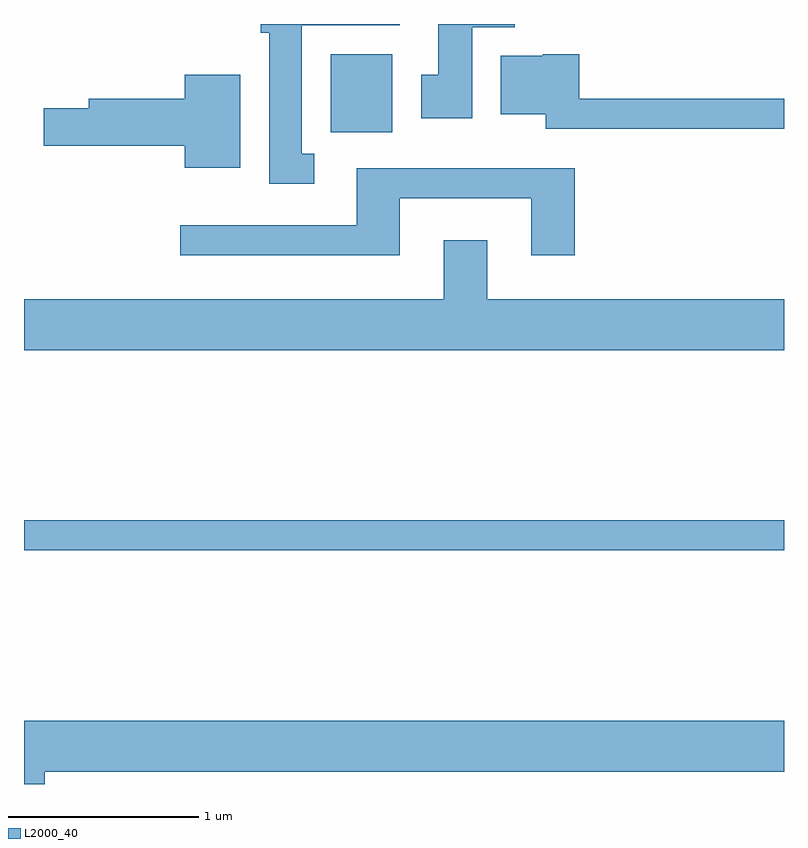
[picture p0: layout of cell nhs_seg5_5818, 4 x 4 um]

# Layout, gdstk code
import gdstk
lib = gdstk.Library(unit=1e-6, precision=1e-09)
def R(c, l, rs):  # rectangles x0, y0, x1, y1
    for r in rs: c.add(gdstk.rectangle(r[:2], r[2:], *l))
def P(c, l, *ps):  # polygons
    for p in ps: c.add(gdstk.Polygon(p, *l))
L2000_40 = (2000, 40)

nhs_seg5_5818 = lib.new_cell('nhs_seg5_5818')
R(nhs_seg5_5818, L2000_40, [(357.611,1451.301,361.611,1451.459), (359.226,1453.501,359.549,1453.914)])
P(nhs_seg5_5818, L2000_40, [(359.969,1454.056),(360.194,1454.056),(360.194,1454.072),(359.791,1454.072),(359.791,1453.804),(359.701,1453.804),(359.701,1453.576),(359.969,1453.576)],
  [(359.138,1453.389),(359.074,1453.389),(359.074,1454.066),(359.589,1454.066),(359.589,1454.072),(358.856,1454.072),(358.856,1454.026),(358.901,1454.026),(358.901,1453.231),(359.138,1453.231)],
  [(361.611,1453.679),(360.534,1453.679),(360.534,1453.914),(360.34,1453.914),(360.34,1453.904),(360.121,1453.904),(360.121,1453.596),(360.356,1453.596),(360.356,1453.521),(361.611,1453.521)],
  [(358.749,1453.804),(358.456,1453.804),(358.456,1453.679),(357.951,1453.679),(357.951,1453.629),(357.716,1453.629),(357.716,1453.431),(358.456,1453.431),(358.456,1453.316),(358.749,1453.316)],
  [(359.589,1453.156),(360.281,1453.156),(360.281,1452.856),(360.509,1452.856),(360.509,1453.314),(359.361,1453.314),(359.361,1453.014),(358.433,1453.014),(358.433,1452.856),(359.589,1452.856)],
  [(361.611,1452.624),(360.049,1452.624),(360.049,1452.934),(359.821,1452.934),(359.821,1452.624),(357.611,1452.624),(357.611,1452.356),(361.611,1452.356)],
  [(357.719,1450.136),(361.611,1450.136),(361.611,1450.404),(357.611,1450.404),(357.611,1450.072),(357.719,1450.072)])

lib.write_gds('nhs_seg5_5818.gds')
